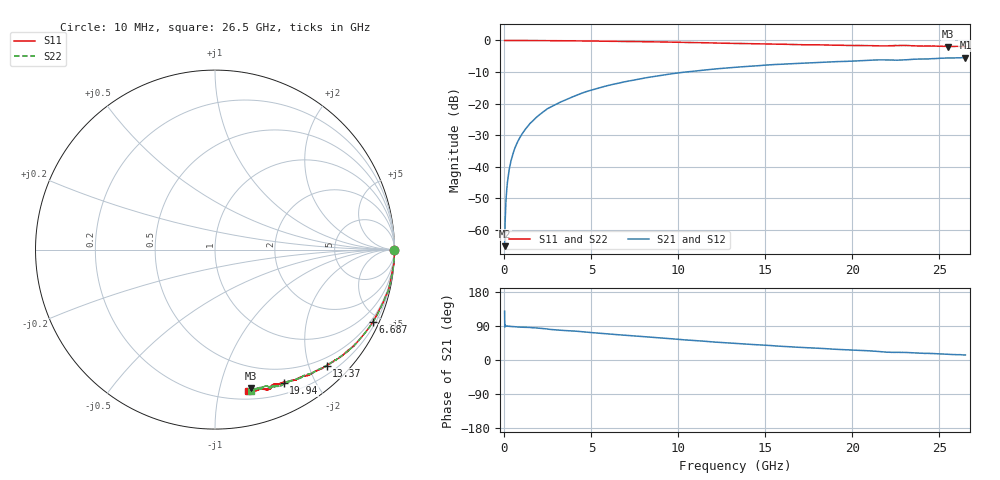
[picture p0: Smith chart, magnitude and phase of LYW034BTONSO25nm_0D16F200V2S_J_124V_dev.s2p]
!Keysight Technologies,N5222B,MY61253708,A.15.00.15
!Date: Wednesday, June 19, 2024 09:52:32
!Correction: S11(C  2-Port  )
!S21(C  2-Port  )
!S12(C  2-Port  )
!S22(C  2-Port  )
!S2P File: Measurements: S11, S21, S12, S22:
# Hz S  RI  R 50
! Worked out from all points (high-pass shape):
!   2651 points, 10 MHz to 26.5 GHz, reference 50 ohm
!   highest |S21| = -5.39 dB at 26.5 GHz (marker M1); lowest = -65.1 dB at 10 MHz (marker M2)
!   |S21| within 3 dB of the highest: 13.4648 GHz to 13.46797 GHz (3.173 MHz wide, 0.0236 % of centre); 13.52 GHz to end of sweep
!   lowest |S11| = -2.0 dB at 25.5 GHz (marker M3), VSWR 8.94, Z = 14.7 - j62.6 ohm
!   |S11| at or under -10 dB: nowhere
!   |S22| runs from -1.9 to 0.0 dB; largest |S21 - S12| = 0.0062
!   S11 on the Smith chart (normalised r, x): 10 MHz: open; 6.687 GHz: 0.37, -4.57; 13.37 GHz: 0.35, -2.31; 19.94 GHz: 0.32, -1.59; 26.5 GHz: 0.27, -1.22
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1e7  0.9988 -0.0031  -0.000348 0.000435  -0.000189 0.000314  0.9982 -0.0017
7.997358e7  0.9999 -0.00574  -1.2e-06 0.00264  8.57e-06 0.00267  0.9994 -0.00523
1.599434e8  0.9999 -0.0114  3.94e-05 0.0053  4.49e-05 0.00531  0.9996 -0.0106
2.099245e8  0.9997 -0.0142  7.85e-05 0.00694  0.000102 0.00698  0.9995 -0.0135
2.699019e8  0.9997 -0.0185  0.000157 0.00894  0.000187 0.00895  0.9999 -0.0175
3.698642e8  0.9997 -0.0255  0.000321 0.0122  0.000285 0.0123  0.9995 -0.0244
4.998151e8  0.9989 -0.0338  0.000552 0.0165  0.000575 0.0166  0.9989 -0.0323
6.597547e8  0.9984 -0.0438  0.000894 0.0217  0.000913 0.0218  0.9986 -0.0424
8.596792e8  0.9981 -0.0572  0.00153 0.0282  0.00154 0.0284  0.9976 -0.0563
1.469449e9  0.9909 -0.0987  0.00376 0.0485  0.00378 0.0486  0.9934 -0.0941
2.349117e9  0.9819 -0.1528  0.0101 0.0783  0.0103 0.0787  0.9834 -0.1521
3.258774e9  0.97 -0.2103  0.0215 0.105  0.0218 0.1057  0.9708 -0.2093
4.428332e9  0.9429 -0.28  0.0381 0.141  0.0385 0.1418  0.9452 -0.2759
6.687479e9  0.8799 -0.4013  0.0872 0.1967  0.0884 0.1974  0.8827 -0.399
8.846664e9  0.8039 -0.5017  0.144 0.2362  0.1455 0.2368  0.8071 -0.4982
1.3255e10  0.628 -0.642  0.2709 0.2609  0.2731 0.2606  0.6347 -0.6388
1.337495e10  0.6226 -0.646  0.274 0.2602  0.2761 0.2605  0.6299 -0.6411
1.767333e10  0.4564 -0.7217  0.3773 0.2337  0.3805 0.2319  0.4702 -0.7181
1.994248e10  0.382 -0.7432  0.4215 0.2093  0.4237 0.207  0.3999 -0.7391
2.209166e10  0.3208 -0.7548  0.4602 0.1721  0.4619 0.169  0.3189 -0.7608
2.550038e10  0.2022 -0.7728  0.5097 0.1359  0.5109 0.135  0.2261 -0.7762
2.65e10  0.1824 -0.7865  0.5231 0.1244  0.5225 0.1204  0.1996 -0.7858
